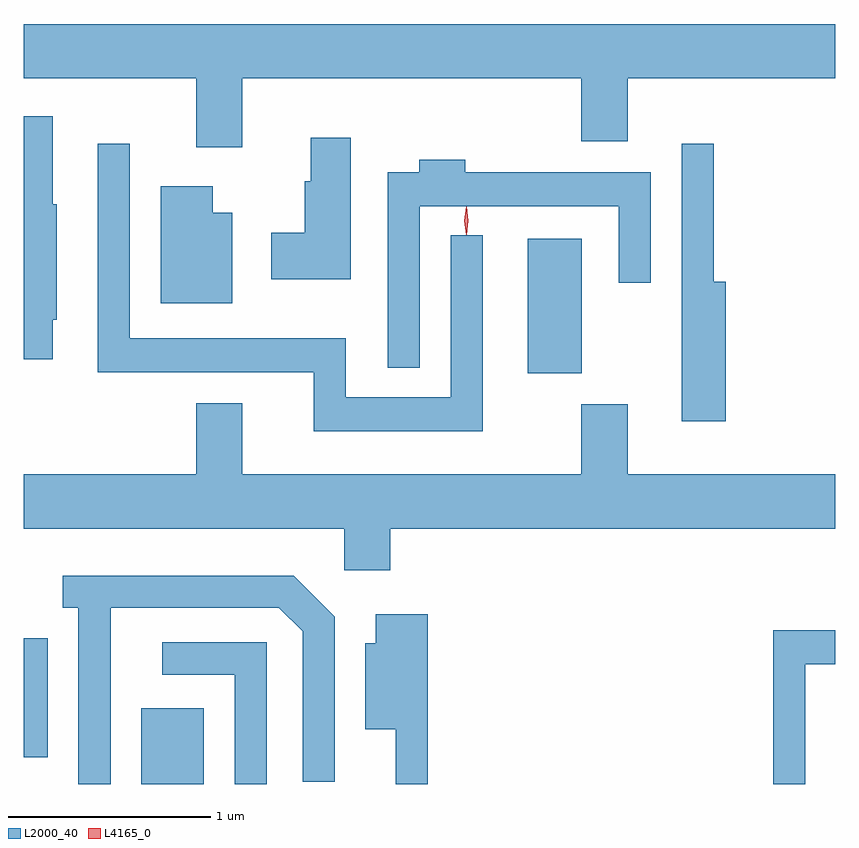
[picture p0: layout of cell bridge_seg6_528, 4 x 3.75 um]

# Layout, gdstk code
import gdstk
lib = gdstk.Library(unit=1e-6, precision=1e-09)
def R(c, l, rs):  # rectangles x0, y0, x1, y1
    for r in rs: c.add(gdstk.rectangle(r[:2], r[2:], *l))
def P(c, l, *ps):  # polygons
    for p in ps: c.add(gdstk.Polygon(p, *l))
L2000_40 = (2000, 40)
L4165_0 = (4165, 0)

bridge_seg6_528 = lib.new_cell('bridge_seg6_528')
R(bridge_seg6_528, L2000_40, [(446.081,1650.896,446.389,1651.269), (445.502,1651.028,445.619,1651.614), (447.986,1652.921,448.254,1653.584)])
P(bridge_seg6_528, L2000_40, [(446.579,1654.376),(448.251,1654.376),(448.251,1654.066),(448.479,1654.066),(448.479,1654.376),(449.502,1654.376),(449.502,1654.644),(445.502,1654.644),(445.502,1654.376),(446.351,1654.376),(446.351,1654.036),(446.579,1654.036)],
  [(445.644,1653.186),(445.664,1653.186),(445.664,1653.754),(445.644,1653.754),(445.644,1654.189),(445.502,1654.189),(445.502,1652.991),(445.644,1652.991)],
  [(447.114,1654.084),(446.916,1654.084),(446.916,1653.869),(446.886,1653.869),(446.886,1653.614),(446.721,1653.614),(446.721,1653.386),(447.114,1653.386)],
  [(448.964,1653.374),(448.904,1653.374),(448.904,1654.053),(448.746,1654.053),(448.746,1652.686),(448.964,1652.686)],
  [(447.764,1653.603),(447.606,1653.603),(447.606,1652.804),(447.089,1652.804),(447.089,1653.094),(446.024,1653.094),(446.024,1654.053),(445.866,1654.053),(445.866,1652.926),(446.931,1652.926),(446.931,1652.636),(447.764,1652.636)],
  [(447.454,1653.746),(448.436,1653.746),(448.436,1653.368),(448.594,1653.368),(448.594,1653.914),(447.679,1653.914),(447.679,1653.974),(447.451,1653.974),(447.451,1653.914),(447.296,1653.914),(447.296,1652.948),(447.454,1652.948)],
  [(446.529,1653.714),(446.434,1653.714),(446.434,1653.844),(446.176,1653.844),(446.176,1653.266),(446.529,1653.266)],
  [(447.309,1652.156),(449.502,1652.156),(449.502,1652.424),(448.479,1652.424),(448.479,1652.769),(448.251,1652.769),(448.251,1652.424),(446.579,1652.424),(446.579,1652.774),(446.351,1652.774),(446.351,1652.424),(445.502,1652.424),(445.502,1652.156),(447.081,1652.156),(447.081,1651.951),(447.309,1651.951)],
  [(445.929,1651.766),(446.759,1651.766),(446.876,1651.649),(446.876,1650.908),(447.034,1650.908),(447.034,1651.722),(446.832,1651.924),(445.693,1651.924),(445.693,1651.766),(445.771,1651.766),(445.771,1650.896),(445.929,1650.896)],
  [(447.494,1651.734),(447.236,1651.734),(447.236,1651.589),(447.186,1651.589),(447.186,1651.166),(447.336,1651.166),(447.336,1650.896),(447.494,1650.896)],
  [(449.354,1651.486),(449.502,1651.486),(449.502,1651.654),(449.196,1651.654),(449.196,1650.896),(449.354,1650.896)],
  [(446.699,1651.594),(446.183,1651.594),(446.183,1651.436),(446.541,1651.436),(446.541,1650.896),(446.699,1650.896)])
P(bridge_seg6_528, L4165_0, [(447.684,1653.604),(447.684,1653.604),(447.674,1653.674),(447.684,1653.743),(447.684,1653.743),(447.685,1653.743),(447.694,1653.674),(447.685,1653.604)])

lib.write_gds('bridge_seg6_528.gds')
